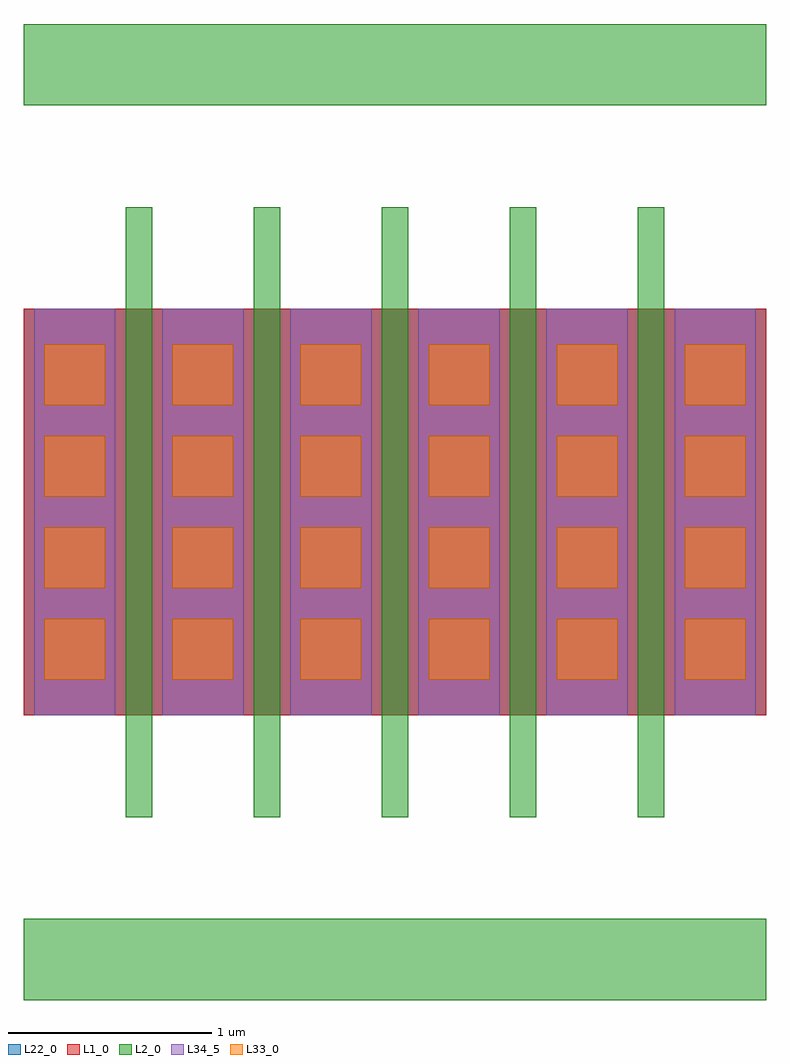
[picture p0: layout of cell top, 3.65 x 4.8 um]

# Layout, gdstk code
import gdstk
lib = gdstk.Library(unit=1e-6, precision=5e-09)
def R(c, l, rs):  # rectangles x0, y0, x1, y1
    for r in rs: c.add(gdstk.rectangle(r[:2], r[2:], *l))
def A(c, l, x, y, w, h, nx, ny, dx, dy):  # array of equal rectangles
    R(c, l, [(x+i*dx, y+j*dy, x+i*dx+w, y+j*dy+h) for i in range(nx) for j in range(ny)])
L1_0 = (1, 0)
L2_0 = (2, 0)
L22_0 = (22, 0)
L33_0 = (33, 0)
L34_5 = (34, 5)

h_gnd = lib.new_cell('h_gnd')
R(h_gnd, L2_0, [(0,-0.8,3.65,-0.4)])
h_gnd.add(gdstk.Label('gnd', (0,-0.6), layer=2, texttype=0))

nmos_5 = lib.new_cell('nmos_5')
R(nmos_5, L1_0, [(0,0,3.65,2)])
A(nmos_5, L2_0, 0.5, -0.5, 0.13, 3, 5, 1, 0.63, 0)
R(nmos_5, L22_0, [(0,0,3.65,2)])
A(nmos_5, L33_0, 0.1, 0.175, 0.3, 0.3, 6, 4, 0.63, 0.45)
A(nmos_5, L34_5, 0.05, 0, 0.4, 2, 6, 1, 0.63, 0)
nmos_5.add(gdstk.Label('g0', (0.565,-0.5), layer=2, texttype=0))
nmos_5.add(gdstk.Label('g1', (1.195,-0.5), layer=2, texttype=0))
nmos_5.add(gdstk.Label('g2', (1.825,-0.5), layer=2, texttype=0))
nmos_5.add(gdstk.Label('g3', (2.455,-0.5), layer=2, texttype=0))
nmos_5.add(gdstk.Label('g4', (3.085,-0.5), layer=2, texttype=0))
nmos_5.add(gdstk.Label('dr0', (0.25,1), layer=34, texttype=16))
nmos_5.add(gdstk.Label('dr1', (0.88,1), layer=34, texttype=16))
nmos_5.add(gdstk.Label('dr2', (1.51,1), layer=34, texttype=16))
nmos_5.add(gdstk.Label('dr3', (2.14,1), layer=34, texttype=16))
nmos_5.add(gdstk.Label('dr4', (2.77,1), layer=34, texttype=16))
nmos_5.add(gdstk.Label('dr5', (3.4,1), layer=34, texttype=16))

h_vdd = lib.new_cell('h_vdd')
R(h_vdd, L2_0, [(0,3.6,3.65,4)])
h_vdd.add(gdstk.Label('vdd', (0,3.8), layer=2, texttype=0))

top = lib.new_cell('top')
top.add(gdstk.Reference(h_gnd, (0,0.3)))
top.add(gdstk.Reference(nmos_5, (0,0.9)))
top.add(gdstk.Reference(h_vdd, (0,0.3)))

lib.write_gds('top.gds')
